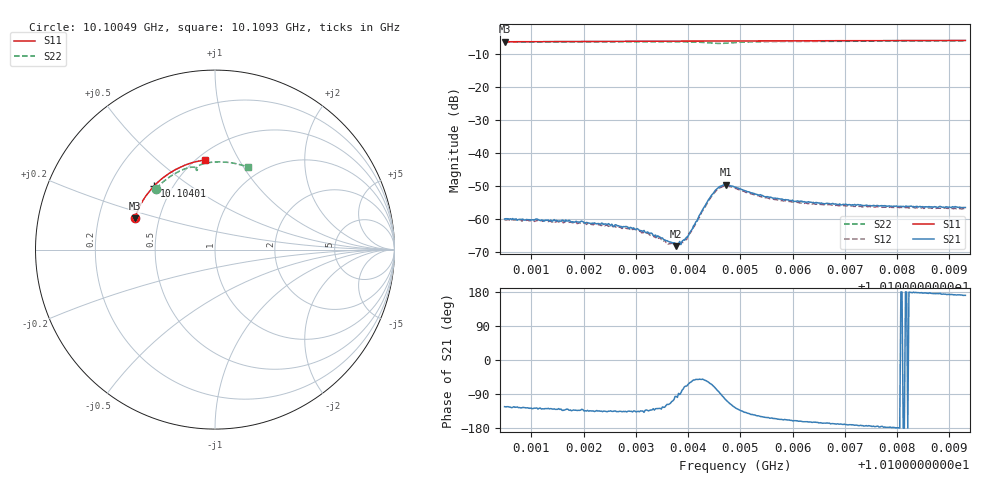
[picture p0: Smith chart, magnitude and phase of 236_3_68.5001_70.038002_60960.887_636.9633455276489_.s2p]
#  HZ  S  RI  R  50.00
! Rohde & Schwarz Vector Network Analyzer
! Rohde-Schwarz,ZNB20-2Port,1311601062101988,3.16
! Created: UTC 3/20/2024, 4:59:10 PM
! freq[Hz]  re:S11  im:S11  re:S21  im:S21  re:S12  im:S12  re:S22  im:S22
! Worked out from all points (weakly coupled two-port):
!   401 points, 10.10049 GHz to 10.1093 GHz, reference 50 ohm
!   highest |S21| = -49.74 dB at 10.10472 GHz (marker M1); lowest = -68.3 dB at 10.10377 GHz (marker M2)
!   lowest |S11| = -6.4 dB at 10.10049 GHz (marker M3), VSWR 2.85, Z = 18.1 + j8.19 ohm
!   |S11| at or under -10 dB: nowhere
!   |S22| runs from -6.9 to -6.1 dB; largest |S21 - S12| = 0.00032
!   S11 on the Smith chart (normalised r, x): 10.10049 GHz: 0.36, +0.16; 10.10401 GHz: 0.40, +0.37; 10.1093 GHz: 0.55, +0.73
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1.0100486e10  -0.4474 0.174  -0.000542 -0.000828  -0.000456 -0.000844  -0.3292 0.3394
1.0101963e10  -0.4115 0.2565  -0.00059 -0.0007  -0.000531 -0.000663  -0.257 0.4021
1.0102448e10  -0.3964 0.2819  -0.000584 -0.000553  -0.000534 -0.000594  -0.2303 0.4194
1.0102955e10  -0.3791 0.3074  -0.000509 -0.000518  -0.00046 -0.000515  -0.2008 0.4356
1.0103264e10  -0.3677 0.3223  -0.000405 -0.000439  -0.000348 -0.000445  -0.1819 0.4445
1.010344e10  -0.3612 0.3306  -0.000327 -0.000422  -0.000282 -0.000416  -0.1706 0.449
1.0103617e10  -0.3541 0.3387  -0.000208 -0.000402  -0.000151 -0.000383  -0.1587 0.453
1.0103771e10  -0.3477 0.3456  -4.05e-05 -0.000382  -2.28e-05 -0.000382  -0.1479 0.456
1.0103815e10  -0.346 0.3476  1.41e-05 -0.000416  4.12e-05 -0.000418  -0.1448 0.4569
1.0103881e10  -0.3432 0.3506  7.74e-05 -0.000442  0.000106 -0.000429  -0.1399 0.4578
1.0103948e10  -0.3406 0.3535  0.000179 -0.000466  0.000203 -0.000444  -0.1349 0.4588
1.0104014e10  -0.3377 0.3565  0.000271 -0.000506  0.000341 -0.000494  -0.1298 0.4592
1.01043e10  -0.3256 0.3687  0.000903 -0.00117  0.000914 -0.00104  -0.1067 0.4561
1.0104477e10  -0.3177 0.3759  0.000893 -0.00223  0.00105 -0.00209  -0.0981 0.4466
1.0104587e10  -0.3128 0.3803  0.000317 -0.00298  0.000506 -0.00282  -0.0997 0.4416
1.0104719e10  -0.3068 0.3857  -0.000851 -0.00315  -0.000534 -0.00307  -0.1047 0.4443
1.0104896e10  -0.2988 0.3925  -0.00175 -0.00245  -0.00148 -0.00252  -0.1024 0.4561
1.0105447e10  -0.2724 0.4132  -0.0019 -0.00107  -0.00171 -0.00119  -0.0668 0.4777
1.010602e10  -0.2435 0.4323  -0.0017 -0.000618  -0.00163 -0.000767  -0.0278 0.4855
1.0106373e10  -0.225 0.4432  -0.00168 -0.00046  -0.00155 -0.00059  -0.00412 0.4878
1.010785e10  -0.1434 0.4792  -0.00156 -7.48e-05  -0.00147 -0.000223  0.0914 0.4836
1.0109305e10  -0.0578 0.4992  -0.00146 0.000239  -0.00141 7.63e-05  0.1814 0.4603
